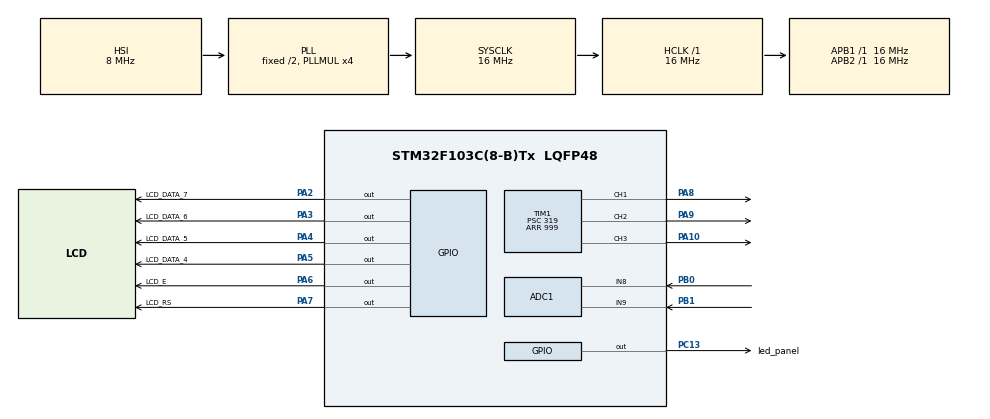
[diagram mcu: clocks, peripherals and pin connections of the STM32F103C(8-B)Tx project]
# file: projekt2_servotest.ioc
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ADC1.Channel-1\#ChannelRegularConversion=ADC_CHANNEL_8
ADC1.Channel-2\#ChannelRegularConversion=ADC_CHANNEL_9
ADC1.ContinuousConvMode=ENABLE
ADC1.NbrOfConversion=2
ADC1.NbrOfConversionFlag=1
ADC1.Rank-1\#ChannelRegularConversion=1
ADC1.Rank-2\#ChannelRegularConversion=2
ADC1.SamplingTime-1\#ChannelRegularConversion=ADC_SAMPLETIME_239CYCLES_5
ADC1.SamplingTime-2\#ChannelRegularConversion=ADC_SAMPLETIME_239CYCLES_5
ADC1.master=1
Dma.ADC1.0.Direction=DMA_PERIPH_TO_MEMORY
Dma.ADC1.0.Instance=DMA1_Channel1
Dma.ADC1.0.MemDataAlignment=DMA_MDATAALIGN_WORD
Dma.ADC1.0.MemInc=DMA_MINC_ENABLE
Dma.ADC1.0.Mode=DMA_CIRCULAR
Dma.ADC1.0.PeriphDataAlignment=DMA_PDATAALIGN_WORD
Dma.ADC1.0.PeriphInc=DMA_PINC_DISABLE
Dma.ADC1.0.Priority=DMA_PRIORITY_LOW
Dma.Request0=ADC1
Mcu.Family=STM32F1
Mcu.Name=STM32F103C(8-B)Tx
Mcu.Package=LQFP48
NVIC.DMA1_Channel1_IRQn=true\:0\:0\:false\:false\:true\:false\:true
NVIC.PriorityGroup=NVIC_PRIORITYGROUP_4
NVIC.TIM2_IRQn=true\:0\:0\:false\:false\:true\:true\:true
PA10.Signal=S_TIM1_CH3
PA13.Mode=Serial_Wire
PA13.Signal=SYS_JTMS-SWDIO
PA14.Mode=Serial_Wire
PA14.Signal=SYS_JTCK-SWCLK
PA2.GPIO_Label=LCD_DATA_7
PA2.Signal=GPIO_Output
PA3.GPIO_Label=LCD_DATA_6
PA3.Signal=GPIO_Output
PA4.GPIO_Label=LCD_DATA_5
PA4.Signal=GPIO_Output
PA5.GPIO_Label=LCD_DATA_4
PA5.Signal=GPIO_Output
PA6.GPIO_Label=LCD_E
PA6.Signal=GPIO_Output
PA7.GPIO_Label=LCD_RS
PA7.Signal=GPIO_Output
PA8.Signal=S_TIM1_CH1
PA9.Signal=S_TIM1_CH2
PB0.Signal=ADCx_IN8
PB1.Signal=ADCx_IN9
PC13-TAMPER-RTC.GPIO_Label=led_panel
PC13-TAMPER-RTC.Signal=GPIO_Output
PD0-OSC_IN.Mode=HSE-External-Oscillator
PD0-OSC_IN.Signal=RCC_OSC_IN
PD1-OSC_OUT.Mode=HSE-External-Oscillator
PD1-OSC_OUT.Signal=RCC_OSC_OUT
ProjectManager.HeapSize=0x200
ProjectManager.StackSize=0x400
ProjectManager.TargetToolchain=STM32CubeIDE
RCC.AHBFreq_Value=16000000
RCC.APB1Freq_Value=16000000
RCC.APB1TimFreq_Value=16000000
RCC.APB2Freq_Value=16000000
RCC.APB2TimFreq_Value=16000000
RCC.HCLKFreq_Value=16000000
RCC.PLLMUL=RCC_PLL_MUL4
RCC.SYSCLKFreq_VALUE=16000000
RCC.SYSCLKSource=RCC_SYSCLKSOURCE_PLLCLK
RCC.USBFreq_Value=16000000
SH.ADCx_IN8.0=ADC1_IN8,IN8
SH.ADCx_IN9.0=ADC1_IN9,IN9
SH.S_TIM1_CH1.0=TIM1_CH1,PWM Generation1 CH1
SH.S_TIM1_CH2.0=TIM1_CH2,PWM Generation2 CH2
SH.S_TIM1_CH3.0=TIM1_CH3,PWM Generation3 CH3
TIM1.Channel-PWM\ Generation1\ CH1=TIM_CHANNEL_1
TIM1.Channel-PWM\ Generation2\ CH2=TIM_CHANNEL_2
TIM1.Channel-PWM\ Generation3\ CH3=TIM_CHANNEL_3
TIM1.Period=999
TIM1.Prescaler=319
TIM2.Period=999
TIM2.Prescaler=7999
VP_TIM1_VS_ClockSourceINT.Mode=Internal
VP_TIM2_VS_ClockSourceINT.Mode=Internal
board=custom

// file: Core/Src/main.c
/* USER CODE BEGIN Header */
/**
  ******************************************************************************
  * @file           : main.c
  * @brief          : Main program body
  ******************************************************************************
  * @attention
  *
  * <h2><center>&copy; Copyright (c) 2021 STMicroelectronics.
  * All rights reserved.</center></h2>
  *
  * This software component is licensed by ST under BSD 3-Clause license,
  * the "License"; You may not use this file except in compliance with the
  * License. You may obtain a copy of the License at:
  *                        opensource.org/licenses/BSD-3-Clause
  *
  ******************************************************************************
  */
/* USER CODE END Header */
#include "main.h"
#include "adc.h"
#include "dma.h"
#include "tim.h"
#include "gpio.h"

/* USER CODE BEGIN Includes */
#include "lcd.h"
#include "functions.h"
/* USER CODE END Includes */

/* USER CODE BEGIN PV */
volatile uint8_t i = 24;
/* USER CODE END PV */

void SystemClock_Config(void);

int main(void)
{
  /* USER CODE BEGIN 1 */
	uch buffer[20];
	u32 dma_data[2] = {0,0};
	float tmp_dma = 0.0;
  /* USER CODE END 1 */

  /* MCU Configuration--------------------------------------------------------*/

  /* Reset of all peripherals, Initializes the Flash interface and the Systick. */
  HAL_Init();

  /* Configure the system clock */
  SystemClock_Config();

  /* Initialize all configured peripherals */
  MX_GPIO_Init();
  MX_DMA_Init();
  MX_TIM1_Init();
  MX_TIM2_Init();
  MX_ADC1_Init();
  /* USER CODE BEGIN 2 */
  HAL_TIM_PWM_Start(&htim1,TIM_CHANNEL_1);
  HAL_TIM_PWM_Start(&htim1,TIM_CHANNEL_2);
  HAL_TIM_PWM_Start(&htim1,TIM_CHANNEL_3);
  HAL_TIM_Base_Start_IT(&htim2);
  HAL_ADC_Start_DMA(&hadc1, dma_data, 2);
  LCD_init(1,1);

  /* USER CODE END 2 */

  /* Infinite loop */
  /* USER CODE BEGIN WHILE */
  LCD_test();
  while (1)
  {
	  HAL_GPIO_TogglePin(led_panel_GPIO_Port, led_panel_Pin);
    /* USER CODE END WHILE */

    /* USER CODE BEGIN 3 */
	  LCD_goto(1,0);
	  //strtoINT(dma_data[0], sizeof(dma_data[0]));
	  tmp_dma = ((3.3/4096)*dma_data[0]);
	  ftoa(tmp_dma, buffer, 2);
	  LCD_string(buffer);
	  tmp_dma = ((3.3/4096)*dma_data[1]);
	  ftoa(tmp_dma, buffer, 2);
	  LCD_string(" ");
	  LCD_string(buffer);

	  for(uint16_t j = 25; j<= 125; j += 5){
		  htim1.Instance -> CCR1 = j;
		  htim1.Instance -> CCR2 = j;
		  htim1.Instance -> CCR3 = j;
		  LCD_goto(0,0);
		  LCD_string("    ");
		  LCD_goto(0,0);
		  strtoINT(j,sizeof(j));
		  HAL_Delay(2000);
	  }

	  htim1.Instance -> CCR1 = 25;
	  htim1.Instance -> CCR2 = 25;
	  htim1.Instance -> CCR3 = 25;
	  HAL_Delay(2000);
	  htim1.Instance -> CCR1 = 75;
	  htim1.Instance -> CCR2 = 75;
	  htim1.Instance -> CCR3 = 75;
	  HAL_Delay(2000);
	  htim1.Instance -> CCR1 = 125;
	  htim1.Instance -> CCR2 = 125;
	  htim1.Instance -> CCR3 = 125;
	  HAL_Delay(2000);
	  //htim1.Instance -> CCR = 125;

  }
  /* USER CODE END 3 */
}

void SystemClock_Config(void)
{
  RCC_OscInitTypeDef RCC_OscInitStruct = {0};
  RCC_ClkInitTypeDef RCC_ClkInitStruct = {0};
  RCC_PeriphCLKInitTypeDef PeriphClkInit = {0};

  /** Initializes the RCC Oscillators according to the specified parameters
  * in the RCC_OscInitTypeDef structure.
  */
  RCC_OscInitStruct.OscillatorType = RCC_OSCILLATORTYPE_HSI;
  RCC_OscInitStruct.HSIState = RCC_HSI_ON;
  RCC_OscInitStruct.HSICalibrationValue = RCC_HSICALIBRATION_DEFAULT;
  RCC_OscInitStruct.PLL.PLLState = RCC_PLL_ON;
  RCC_OscInitStruct.PLL.PLLSource = RCC_PLLSOURCE_HSI_DIV2;
  RCC_OscInitStruct.PLL.PLLMUL = RCC_PLL_MUL4;
  if (HAL_RCC_OscConfig(&RCC_OscInitStruct) != HAL_OK)
  {
    Error_Handler();
  }
  /** Initializes the CPU, AHB and APB buses clocks
  */
  RCC_ClkInitStruct.ClockType = RCC_CLOCKTYPE_HCLK|RCC_CLOCKTYPE_SYSCLK
                              |RCC_CLOCKTYPE_PCLK1|RCC_CLOCKTYPE_PCLK2;
  RCC_ClkInitStruct.SYSCLKSource = RCC_SYSCLKSOURCE_PLLCLK;
  RCC_ClkInitStruct.AHBCLKDivider = RCC_SYSCLK_DIV1;
  RCC_ClkInitStruct.APB1CLKDivider = RCC_HCLK_DIV1;
  RCC_ClkInitStruct.APB2CLKDivider = RCC_HCLK_DIV1;

  if (HAL_RCC_ClockConfig(&RCC_ClkInitStruct, FLASH_LATENCY_0) != HAL_OK)
  {
    Error_Handler();
  }
  PeriphClkInit.PeriphClockSelection = RCC_PERIPHCLK_ADC;
  PeriphClkInit.AdcClockSelection = RCC_ADCPCLK2_DIV2;
  if (HAL_RCCEx_PeriphCLKConfig(&PeriphClkInit) != HAL_OK)
  {
    Error_Handler();
  }
}

/* USER CODE BEGIN 4 */
/*void HAL_TIM_PeriodElapsedCallback(TIM_HandleTypeDef *htim){
	if(htim->Instance == TIM2){
		i++;
		htim1.Instance -> CCR1 = i;
		if(i == 125){
			i = 24;
		}
	}
}*/
/* USER CODE END 4 */

void Error_Handler(void)
{
  __disable_irq();
  while (1)
  {
  }
}

/************************ (C) COPYRIGHT STMicroelectronics *****END OF FILE****/
